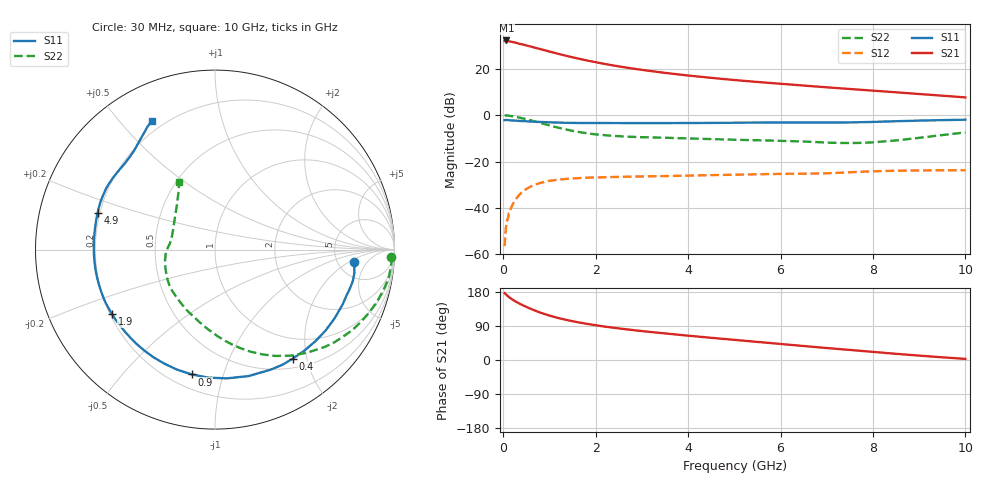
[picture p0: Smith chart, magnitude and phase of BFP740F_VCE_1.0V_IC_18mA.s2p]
! Infineon Technologies  Discrete & RF Semiconductors
! BFP740F
! VCE =  1.0 V,  IC =  18 mA
! Common Emitter S-Parameters:  Oct 2012
# GHz  S  MA  R  50
!  f  S11  S21  S12  S22
! GHz  MAG  ANG  MAG  ANG  MAG  ANG  MAG  ANG
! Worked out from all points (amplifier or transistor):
!   99 points, 30 MHz to 10 GHz, reference 50 ohm
!   highest |S21| = 32.2 dB at 70 MHz (marker M1)
!   |S21| within 3 dB of that: start of sweep to 665.2 MHz
!   unconditionally stable (mu >= 1): 5.904 GHz to end of sweep
!   at 350 MHz: K = 0.12, MSG = 32.5 dB, |S12| = -34.3 dB
!   at 3.5 GHz: K = 0.66, MSG = 22.2 dB, |S12| = -26.3 dB
!   at 10 GHz: K = 1.27, MAG = 12.6 dB, |S12| = -23.7 dB
!   S11 on the Smith chart (normalised r, x): 30 MHz: 7.23, -2.45; 400 MHz: 0.64, -1.76; 900 MHz: 0.28, -0.79; 1.9 GHz: 0.21, -0.28; 4.9 GHz: 0.19, +0.15; 10 GHz: 0.16, +0.61
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0.03  0.7796 -4.9  39.55 176.5  0.0015 82.7  0.9839 -2.4
0.05  0.784 -8.1  40.49 174.2  0.0029 76.2  0.9855 -4.6
0.07  0.7873 -11.0  40.74 171.9  0.0043 80.1  0.9831 -6.6
0.13  0.7754 -20.3  38.99 165.5  0.0076 80.5  0.9696 -12.3
0.2  0.7685 -29.9  37.74 159.4  0.0117 74.5  0.9455 -18.5
0.3  0.7573 -42.4  35.78 152.2  0.0168 69.3  0.9056 -26.7
0.4  0.746 -54.5  33.73 145.8  0.0216 64.2  0.8613 -34.4
0.6  0.729 -75.2  30.05 134.8  0.0292 54.7  0.7706 -48.2
0.7  0.7205 -84.7  28.22 129.8  0.0321 50.4  0.7258 -54.5
0.9  0.7074 -100.6  25.02 121.1  0.0367 42.9  0.64 -65.8
1.1  0.6954 -113.9  22.14 113.8  0.0397 37.5  0.566 -75.7
1.3  0.6867 -124.8  19.7 107.6  0.0416 33.2  0.506 -84.5
1.5  0.6805 -133.9  17.66 102.4  0.0432 29.9  0.4591 -92.3
1.7  0.6775 -141.6  15.95 97.8  0.0443 27.2  0.4226 -99.6
1.9  0.6769 -148.0  14.51 93.7  0.0452 25.3  0.3959 -106.4
2.5  0.6755 -163.0  11.26 83.4  0.0467 21.0  0.3521 -123.0
3.4  0.675 -178.1  8.393 71.3  0.0485 18.3  0.3278 -138.9
4.9  0.6851 162.7  5.84 54.2  0.0518 16.1  0.2972 -157.4
5.1  0.688 160.6  5.609 52.0  0.0523 15.9  0.2938 -160.1
6.7  0.6939 142.9  4.193 34.8  0.0551 14.9  0.2649 178.5
8.5  0.7396 124.4  3.109 16.3  0.0634 12.1  0.2853 141.6
10  0.798 116.1  2.414 2.9  0.065 7.5  0.4238 118.0
